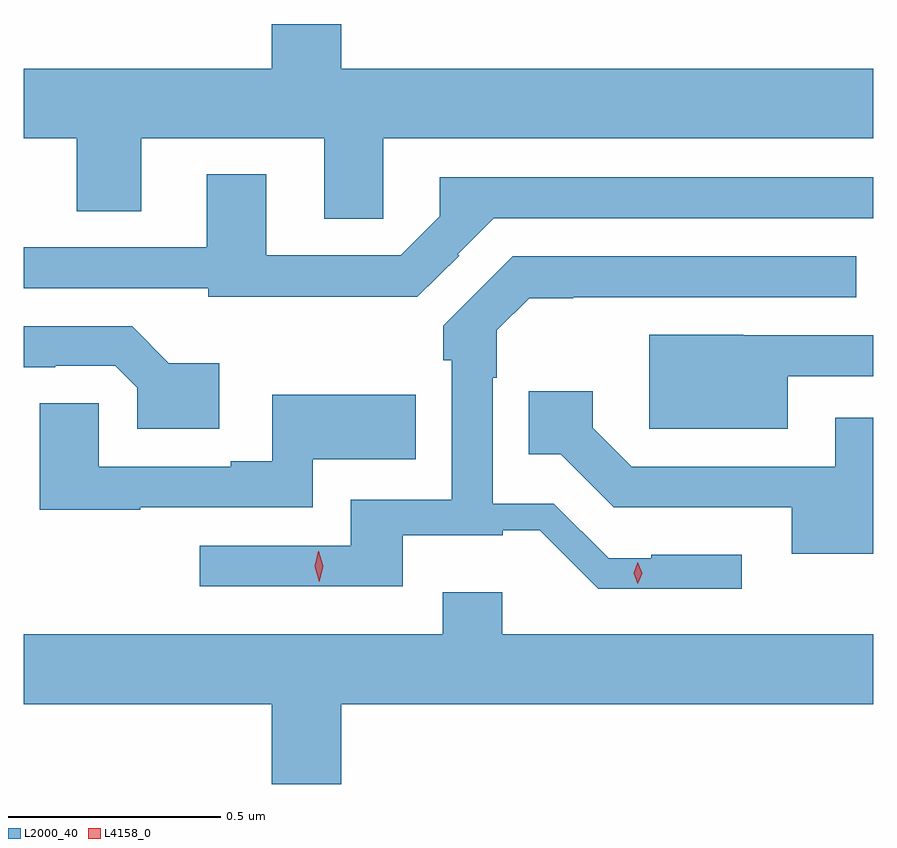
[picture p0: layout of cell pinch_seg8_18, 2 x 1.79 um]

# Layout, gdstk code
import gdstk
lib = gdstk.Library(unit=1e-6, precision=1e-09)
def P(c, l, *ps):  # polygons
    for p in ps: c.add(gdstk.Polygon(p, *l))
L2000_40 = (2000, 40)
L4158_0 = (4158, 0)

pinch_seg8_18 = lib.new_cell('pinch_seg8_18')
P(pinch_seg8_18, L2000_40, [(1028.406,1159.124),(1029.56,1159.124),(1029.56,1159.288),(1028.308,1159.288),(1028.308,1159.393),(1028.144,1159.393),(1028.144,1159.288),(1027.56,1159.288),(1027.56,1159.124),(1027.685,1159.124),(1027.685,1158.952),(1027.837,1158.952),(1027.837,1159.124),(1028.267,1159.124),(1028.267,1158.934),(1028.406,1158.934)],
  [(1028.585,1158.848),(1028.582,1158.851),(1028.667,1158.936),(1029.56,1158.936),(1029.56,1159.032),(1028.539,1159.032),(1028.539,1158.94),(1028.448,1158.849),(1028.131,1158.849),(1028.131,1159.039),(1027.991,1159.039),(1027.991,1158.867),(1027.56,1158.867),(1027.56,1158.771),(1027.995,1158.771),(1027.995,1158.751),(1028.487,1158.751)],
  [(1029.25,1158.144),(1029.037,1158.144),(1029.037,1158.135),(1028.937,1158.135),(1028.808,1158.264),(1028.664,1158.264),(1028.664,1158.56),(1028.674,1158.56),(1028.674,1158.672),(1028.75,1158.748),(1028.854,1158.748),(1028.854,1158.75),(1029.52,1158.75),(1029.52,1158.846),(1028.711,1158.846),(1028.548,1158.683),(1028.548,1158.602),(1028.568,1158.602),(1028.568,1158.273),(1028.33,1158.273),(1028.33,1158.165),(1027.974,1158.165),(1027.974,1158.069),(1028.452,1158.069),(1028.452,1158.189),(1028.688,1158.189),(1028.688,1158.201),(1028.775,1158.201),(1028.913,1158.064),(1029.25,1158.064)],
  [(1028.02,1158.595),(1027.902,1158.595),(1027.816,1158.681),(1027.56,1158.681),(1027.56,1158.585),(1027.634,1158.585),(1027.634,1158.588),(1027.776,1158.588),(1027.827,1158.537),(1027.827,1158.44),(1028.02,1158.44)],
  [(1029.358,1158.564),(1029.56,1158.564),(1029.56,1158.66),(1029.254,1158.66),(1029.254,1158.661),(1029.032,1158.661),(1029.032,1158.44),(1029.358,1158.44)],
  [(1029.56,1158.466),(1029.47,1158.466),(1029.47,1158.351),(1028.991,1158.351),(1028.899,1158.443),(1028.899,1158.529),(1028.749,1158.529),(1028.749,1158.38),(1028.824,1158.38),(1028.949,1158.255),(1029.368,1158.255),(1029.368,1158.146),(1029.56,1158.146)],
  [(1027.834,1158.255),(1028.241,1158.255),(1028.241,1158.368),(1028.483,1158.368),(1028.483,1158.52),(1028.145,1158.52),(1028.145,1158.364),(1028.048,1158.364),(1028.048,1158.351),(1027.737,1158.351),(1027.737,1158.5),(1027.598,1158.5),(1027.598,1158.25),(1027.834,1158.25)],
  [(1028.308,1157.792),(1029.56,1157.792),(1029.56,1157.956),(1028.686,1157.956),(1028.686,1158.055),(1028.546,1158.055),(1028.546,1157.956),(1027.56,1157.956),(1027.56,1157.792),(1028.144,1157.792),(1028.144,1157.604),(1028.308,1157.604)])
P(pinch_seg8_18, L4158_0, [(1029.005,1158.075),(1028.996,1158.1),(1029.005,1158.126),(1029.006,1158.126),(1029.006,1158.126),(1029.016,1158.1),(1029.006,1158.075),(1029.006,1158.075)],
  [(1028.256,1158.08),(1028.256,1158.08),(1028.245,1158.116),(1028.253,1158.152),(1028.254,1158.152),(1028.254,1158.152),(1028.265,1158.116),(1028.256,1158.08)])

lib.write_gds('pinch_seg8_18.gds')
